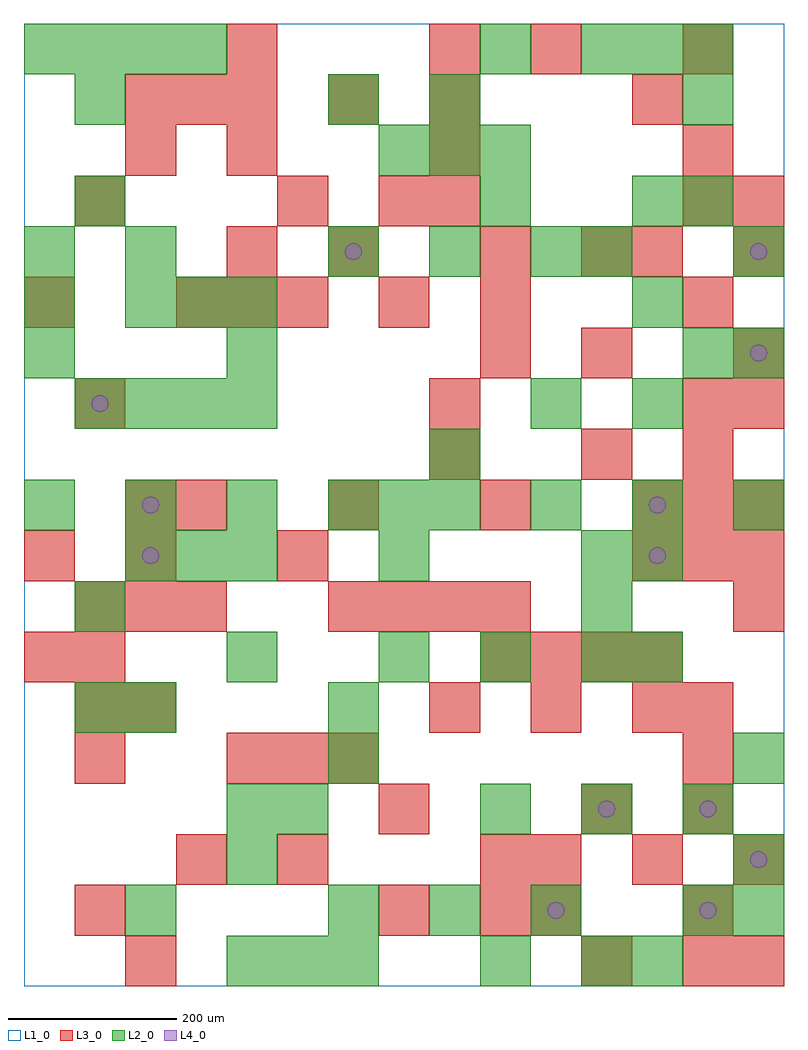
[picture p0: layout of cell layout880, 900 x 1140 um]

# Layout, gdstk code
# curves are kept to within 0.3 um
import gdstk
lib = gdstk.Library(unit=1e-6, precision=1e-09)
def R(c, l, rs):  # rectangles x0, y0, x1, y1
    for r in rs: c.add(gdstk.rectangle(r[:2], r[2:], *l))
def A(c, l, x, y, w, h, nx, ny, dx, dy):  # array of equal rectangles
    R(c, l, [(x+i*dx, y+j*dy, x+i*dx+w, y+j*dy+h) for i in range(nx) for j in range(ny)])
def P(c, l, *ps):  # polygons
    for p in ps: c.add(gdstk.Polygon(p, *l))
L1_0 = (1, 0)
L2_0 = (2, 0)
L3_0 = (3, 0)
L4_0 = (4, 0)

layout880 = lib.new_cell('layout880')
R(layout880, L1_0, [(0,0,900,1140)])
A(layout880, L2_0, 240, 0, 60, 60, 3, 1, 60, 0)
A(layout880, L2_0, 360, 60, 60, 60, 3, 2, 120, 780)
A(layout880, L2_0, 540, 180, 60, 60, 3, 1, 120, 0)
A(layout880, L2_0, 420, 360, 60, 60, 3, 1, 120, 0)
A(layout880, L2_0, 120, 480, 60, 60, 3, 2, 60, 300)
A(layout880, L2_0, 0, 540, 60, 60, 4, 1, 120, 0)
A(layout880, L2_0, 480, 540, 60, 60, 4, 1, 120, 0)
A(layout880, L2_0, 60, 660, 60, 60, 4, 1, 60, 0)
A(layout880, L2_0, 720, 660, 60, 60, 1, 3, 0, 120)
A(layout880, L2_0, 0, 720, 60, 60, 1, 3, 0, 60)
A(layout880, L2_0, 420, 960, 60, 60, 3, 1, 60, 0)
A(layout880, L2_0, 0, 1080, 60, 60, 4, 1, 60, 0)
A(layout880, L2_0, 660, 1080, 60, 60, 3, 1, 60, 0)
R(layout880, L2_0, [(540,0,600,60), (660,0,720,60), (720,0,780,60), (120,60,180,120), (780,60,840,120), (840,60,900,120), (240,120,300,180), (840,120,900,180), (240,180,300,240), (300,180,360,240), (360,240,420,300), (840,240,900,300), (60,300,120,360), (120,300,180,360), (360,300,420,360), (240,360,300,420), (720,360,780,420), (60,420,120,480), (660,420,720,480), (420,480,480,540), (660,480,720,540), (720,480,780,540), (420,540,480,600), (480,600,540,660), (600,660,660,720), (240,720,300,780), (780,720,840,780), (840,720,900,780), (120,840,180,900), (660,840,720,900), (840,840,900,900), (60,900,120,960), (540,900,600,960), (780,900,840,960), (60,1020,120,1080), (360,1020,420,1080), (480,1020,540,1080), (780,1020,840,1080), (540,1080,600,1140)])
A(layout880, L3_0, 600, 120, 60, 60, 3, 1, 120, 0)
A(layout880, L3_0, 780, 180, 60, 60, 1, 3, 0, 60)
A(layout880, L3_0, 60, 240, 60, 60, 1, 3, 0, 60)
A(layout880, L3_0, 240, 240, 60, 60, 3, 1, 60, 0)
A(layout880, L3_0, 480, 300, 60, 60, 3, 1, 120, 0)
A(layout880, L3_0, 540, 360, 60, 60, 4, 1, 60, 0)
A(layout880, L3_0, 60, 420, 60, 60, 3, 1, 60, 0)
A(layout880, L3_0, 360, 420, 60, 60, 4, 1, 60, 0)
A(layout880, L3_0, 840, 420, 60, 60, 1, 3, 0, 120)
A(layout880, L3_0, 720, 480, 60, 60, 3, 1, 60, 0)
A(layout880, L3_0, 180, 540, 60, 60, 4, 1, 180, 0)
A(layout880, L3_0, 780, 540, 60, 60, 1, 3, 0, 60)
A(layout880, L3_0, 660, 600, 60, 60, 1, 3, 0, 120)
A(layout880, L3_0, 540, 720, 60, 60, 1, 3, 0, 60)
A(layout880, L3_0, 180, 780, 60, 60, 3, 1, 60, 0)
A(layout880, L3_0, 240, 840, 60, 60, 1, 3, 0, 120)
A(layout880, L3_0, 480, 900, 60, 60, 1, 4, 0, 60)
A(layout880, L3_0, 120, 1020, 60, 60, 3, 1, 60, 0)
R(layout880, L3_0, [(120,0,180,60), (660,0,720,60), (780,0,840,60), (840,0,900,60), (60,60,120,120), (420,60,480,120), (540,60,600,120), (600,60,660,120), (780,60,840,120), (180,120,240,180), (300,120,360,180), (540,120,600,180), (420,180,480,240), (660,180,720,240), (120,300,180,360), (0,360,60,420), (0,480,60,540), (120,480,180,540), (300,480,360,540), (120,540,180,600), (480,600,540,660), (60,660,120,720), (480,660,540,720), (840,720,900,780), (0,780,60,840), (420,780,480,840), (780,780,840,840), (360,840,420,900), (720,840,780,900), (840,840,900,900), (60,900,120,960), (300,900,360,960), (420,900,480,960), (780,900,840,960), (840,900,900,960), (120,960,180,1020), (780,960,840,1020), (360,1020,420,1080), (720,1020,780,1080), (600,1080,660,1140), (780,1080,840,1140)])
P(layout880, L4_0, [(100,690),(99.239,693.827),(97.071,697.071),(93.827,699.239),(90,700),(86.173,699.239),(82.929,697.071),(80.761,693.827),(80,690),(80.761,686.173),(82.929,682.929),(86.173,680.761),(90,680),(93.827,680.761),(97.071,682.929),(99.239,686.173)],
  [(160,510),(159.239,513.827),(157.071,517.071),(153.827,519.239),(150,520),(146.173,519.239),(142.929,517.071),(140.761,513.827),(140,510),(140.761,506.173),(142.929,502.929),(146.173,500.761),(150,500),(153.827,500.761),(157.071,502.929),(159.239,506.173)],
  [(160,570),(159.239,573.827),(157.071,577.071),(153.827,579.239),(150,580),(146.173,579.239),(142.929,577.071),(140.761,573.827),(140,570),(140.761,566.173),(142.929,562.929),(146.173,560.761),(150,560),(153.827,560.761),(157.071,562.929),(159.239,566.173)],
  [(400,870),(399.239,873.827),(397.071,877.071),(393.827,879.239),(390,880),(386.173,879.239),(382.929,877.071),(380.761,873.827),(380,870),(380.761,866.173),(382.929,862.929),(386.173,860.761),(390,860),(393.827,860.761),(397.071,862.929),(399.239,866.173)],
  [(640,90),(639.239,93.827),(637.071,97.071),(633.827,99.239),(630,100),(626.173,99.239),(622.929,97.071),(620.761,93.827),(620,90),(620.761,86.173),(622.929,82.929),(626.173,80.761),(630,80),(633.827,80.761),(637.071,82.929),(639.239,86.173)],
  [(700,210),(699.239,213.827),(697.071,217.071),(693.827,219.239),(690,220),(686.173,219.239),(682.929,217.071),(680.761,213.827),(680,210),(680.761,206.173),(682.929,202.929),(686.173,200.761),(690,200),(693.827,200.761),(697.071,202.929),(699.239,206.173)],
  [(760,510),(759.239,513.827),(757.071,517.071),(753.827,519.239),(750,520),(746.173,519.239),(742.929,517.071),(740.761,513.827),(740,510),(740.761,506.173),(742.929,502.929),(746.173,500.761),(750,500),(753.827,500.761),(757.071,502.929),(759.239,506.173)],
  [(760,570),(759.239,573.827),(757.071,577.071),(753.827,579.239),(750,580),(746.173,579.239),(742.929,577.071),(740.761,573.827),(740,570),(740.761,566.173),(742.929,562.929),(746.173,560.761),(750,560),(753.827,560.761),(757.071,562.929),(759.239,566.173)],
  [(820,90),(819.239,93.827),(817.071,97.071),(813.827,99.239),(810,100),(806.173,99.239),(802.929,97.071),(800.761,93.827),(800,90),(800.761,86.173),(802.929,82.929),(806.173,80.761),(810,80),(813.827,80.761),(817.071,82.929),(819.239,86.173)],
  [(820,210),(819.239,213.827),(817.071,217.071),(813.827,219.239),(810,220),(806.173,219.239),(802.929,217.071),(800.761,213.827),(800,210),(800.761,206.173),(802.929,202.929),(806.173,200.761),(810,200),(813.827,200.761),(817.071,202.929),(819.239,206.173)],
  [(880,150),(879.239,153.827),(877.071,157.071),(873.827,159.239),(870,160),(866.173,159.239),(862.929,157.071),(860.761,153.827),(860,150),(860.761,146.173),(862.929,142.929),(866.173,140.761),(870,140),(873.827,140.761),(877.071,142.929),(879.239,146.173)],
  [(880,750),(879.239,753.827),(877.071,757.071),(873.827,759.239),(870,760),(866.173,759.239),(862.929,757.071),(860.761,753.827),(860,750),(860.761,746.173),(862.929,742.929),(866.173,740.761),(870,740),(873.827,740.761),(877.071,742.929),(879.239,746.173)],
  [(880,870),(879.239,873.827),(877.071,877.071),(873.827,879.239),(870,880),(866.173,879.239),(862.929,877.071),(860.761,873.827),(860,870),(860.761,866.173),(862.929,862.929),(866.173,860.761),(870,860),(873.827,860.761),(877.071,862.929),(879.239,866.173)])

lib.write_gds('layout880.gds')
